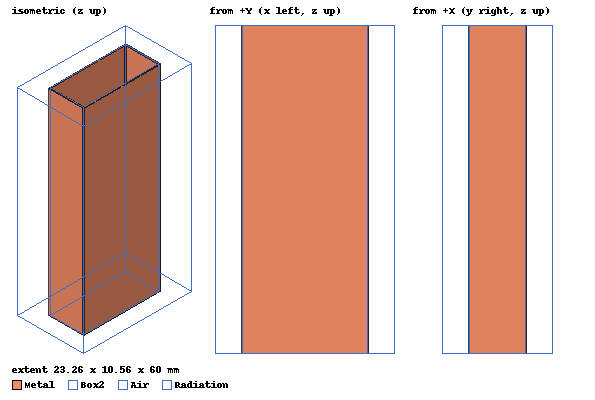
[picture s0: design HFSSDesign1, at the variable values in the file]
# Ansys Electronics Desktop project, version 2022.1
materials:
  vacuum: permittivity=1
  air: permittivity=1.0006 permeability=1.0000004
  copper: permeability=0.999991 conductivity=58000000

design HFSSDesign1 (HFSS, DrivenModal, model units mm)
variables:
  a = 22.86mm
  b = 10.16mm
  th = 0.2mm
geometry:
  Box1 = box(corner=(-a/2, -b/2, 0mm), size=(a, b, 60mm))
  Metal [copper] = box(corner=(-a/2-th, -b/2-th, 0mm), size=(a+2*th, b+2*th, 60mm))
  Metal.subtract(Box1)
  Box2 [air] = box(corner=(-a/2, -b/2, 0mm), size=(a, b, 60mm))
  Air [air] = box(corner=(-a/2, -b/2, 0mm), size=(a, b, 60mm))
  Radiation [air] = box(corner=(-a/2-5mm, -b/2-5mm, 0mm), size=(a+10mm, b+10mm, 60mm))
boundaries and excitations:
  1: Wave Port Faces=Air.face(-z) NumModes=1 Modes{Mode1{IntLine{(0, 5.08, 0) -> (0, -5.08, 0)} CharImp=Zpi}}
  2: Wave Port Faces=Air.face(+z) NumModes=1 Modes{Mode1{IntLine{(0, 5.08, 60) -> (0, -5.08, 60)} CharImp=Zpi}}
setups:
  Setup1: HfssDriven Frequency=10GHz MaxDeltaS=0.02 MaximumPasses=6 MinimumPasses=1 MinimumConvergedPasses=1 PercentRefinement=30 BasisOrder=1 PortAccuracy=2 DrivenSolverType="Direct Solver"
    sweep Sweep: 5GHz to 17GHz step 0.1GHz; Type=Interpolating InterpTolerance=0.5 InterpMaxSolns=250 InterpUsePortImped=false PassivityErrorTolerance=0.0001
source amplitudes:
  1:1: 1W 0deg
  2:1: 0W 0deg
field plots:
  Mag_E1: E Field over Air.face(+z) on Setup1 : LastAdaptive at Freq=10GHz Phase=0deg
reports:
  S Parameter Plot 1: dB(S(2,1)) vs Freq on Setup1 : Sweep; markers m1 at 6.6GHz
